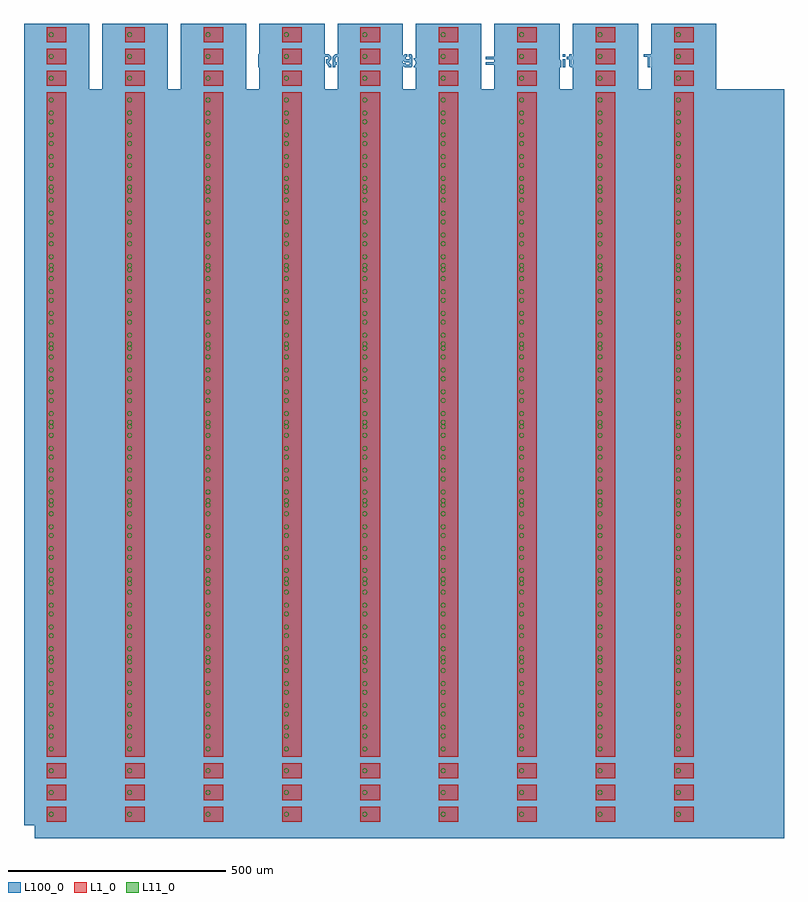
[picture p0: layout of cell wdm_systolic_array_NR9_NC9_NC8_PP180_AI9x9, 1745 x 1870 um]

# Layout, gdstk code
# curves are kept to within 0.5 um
import gdstk
lib = gdstk.Library(unit=1e-6, precision=1e-09)
def R(c, l, rs):  # rectangles x0, y0, x1, y1
    for r in rs: c.add(gdstk.rectangle(r[:2], r[2:], *l))
def P(c, l, *ps):  # polygons
    for p in ps: c.add(gdstk.Polygon(p, *l))
L1_0 = (1, 0)
L11_0 = (11, 0)
L100_0 = (100, 0)

rectangle_gdsfactorypcom = lib.new_cell('rectangle_gdsfactorypcomponentspshapesprectangle_S150_4_50ec886f')
R(rectangle_gdsfactorypcom, L100_0, [(0,0,150,400)])

c_rectangle_gdsfactorypcom = lib.new_cell('rectangle_gdsfactorypcomponentspshapesprectangle_S45_35_ef38d646')
R(c_rectangle_gdsfactorypcom, L1_0, [(0,0,45,35)])

ring_gdsfactorypcomponen = lib.new_cell('ring_gdsfactorypcomponentspringspring_R5_W0p5_AR2p5_L11_0_A360')
P(ring_gdsfactorypcomponen, L11_0, [(0,-5.25),(-1.136,-5.126),(-2.009,-4.85),(-2.821,-4.428),(-3.712,-3.712),(-4.428,-2.821),(-4.85,-2.009),(-5.126,-1.136),(-5.25,0),(-5.126,1.136),(-4.85,2.009),(-4.428,2.821),(-3.712,3.712),(-2.821,4.428),(-2.009,4.85),(-1.136,5.126),(0,5.25),(1.136,5.126),(2.009,4.85),(2.821,4.428),(3.712,3.712),(4.428,2.821),(4.85,2.009),(5.126,1.136),(5.25,0),(4.75,0),(4.678,0.825),(4.464,1.625),(4.114,2.375),(3.639,3.053),(2.724,3.891),(1.625,4.464),(0.414,4.732),(-0.414,4.732),(-1.028,4.637),(-1.625,4.464),(-2.375,4.114),(-3.359,3.359),(-4.114,2.375),(-4.588,1.229),(-4.75,0),(-4.637,-1.028),(-4.305,-2.007),(-3.639,-3.053),(-2.724,-3.891),(-1.625,-4.464),(-0.62,-4.709),(0.414,-4.732),(1.625,-4.464),(2.552,-4.006),(3.359,-3.359),(4.114,-2.375),(4.588,-1.229),(4.75,0),(5.25,0),(5.126,-1.136),(4.85,-2.009),(4.428,-2.821),(3.712,-3.712),(2.821,-4.428),(2.009,-4.85),(1.136,-5.126)])

c_ring_gdsfactorypcomponen = lib.new_cell('ring_gdsfactorypcomponentspringspring_R8_W0p5_AR2p5_L1_0_A360')
P(c_ring_gdsfactorypcomponen, L1_0, [(0,-8.25),(-1.433,-8.125),(-3.157,-7.622),(-4.433,-6.958),(-5.834,-5.834),(-6.958,-4.433),(-7.622,-3.157),(-8.125,-1.433),(-8.25,0),(-8.125,1.433),(-7.622,3.157),(-6.958,4.433),(-5.834,5.834),(-4.433,6.958),(-3.157,7.622),(-1.433,8.125),(0,8.25),(1.433,8.125),(3.157,7.622),(4.433,6.958),(5.834,5.834),(6.958,4.433),(7.622,3.157),(8.125,1.433),(8.25,0),(7.75,0),(7.632,1.346),(7.283,2.651),(6.712,3.875),(6.148,4.718),(5.48,5.48),(4.718,6.148),(3.875,6.712),(2.966,7.16),(2.006,7.486),(0.675,7.721),(-0.338,7.743),(-1.346,7.632),(-2.651,7.283),(-3.579,6.874),(-4.718,6.148),(-5.48,5.48),(-6.148,4.718),(-6.712,3.875),(-7.391,2.33),(-7.721,0.675),(-7.743,-0.338),(-7.632,-1.346),(-7.391,-2.33),(-7.024,-3.275),(-6.536,-4.164),(-5.937,-4.982),(-4.718,-6.148),(-3.875,-6.712),(-2.966,-7.16),(-2.006,-7.486),(-1.012,-7.684),(0.675,-7.721),(1.677,-7.566),(2.651,-7.283),(4.164,-6.536),(5.48,-5.48),(6.536,-4.164),(7.024,-3.275),(7.486,-2.006),(7.684,-1.012),(7.75,0),(8.25,0),(8.125,-1.433),(7.622,-3.157),(6.958,-4.433),(5.834,-5.834),(4.433,-6.958),(3.157,-7.622),(1.433,-8.125)])

text_gdsfactorypcomponen = lib.new_cell('text_gdsfactorypcomponentsptextsptext_TWDMmPE$8ch_S8_P0_c751b03d')
R(text_gdsfactorypcomponen, L100_0, [(21.6,2.8,28,4.4)])
P(text_gdsfactorypcomponen, L100_0, [(8.8,-12),(7.2,-10.4),(7.2,-8),(8.8,-6.4),(11.2,-6.4),(12.8,-8),(12.8,-8.8),(11.2,-8.8),(10.4,-8),(9.6,-8),(8.8,-8.8),(8.8,-9.6),(9.6,-10.4),(10.4,-10.4),(11.2,-9.6),(12.8,-9.6),(12.8,-10.4),(11.2,-12)],
  [(1.6,-12),(0.8,-11.2),(0.8,-8.8),(1.6,-8),(0.8,-7.2),(0.8,-4.8),(1.6,-4),(3.2,-4),(3.2,-5.6),(2.4,-5.6),(2.4,-7.2),(4.8,-7.2),(4.8,-5.6),(4,-5.6),(4,-4),(5.6,-4),(6.4,-4.8),(6.4,-7.2),(5.6,-8),(6.4,-8.8),(6.4,-11.2),(5.6,-12),(4,-12),(4,-10.4),(4.8,-10.4),(4.8,-8.8),(2.4,-8.8),(2.4,-10.4),(3.2,-10.4),(3.2,-12)],
  [(13.6,-12),(13.6,-3.2),(15.2,-3.2),(15.2,-7.2),(16,-6.4),(17.6,-6.4),(19.2,-8),(19.2,-12),(17.6,-12),(17.6,-8.8),(16.8,-8),(16,-8),(15.2,-8.8),(15.2,-12)],
  [(0.8,0),(0.8,8),(2.4,8),(2.4,3.2),(4,5.6),(5.6,3.2),(5.6,8),(7.2,8),(7.2,0),(5.6,0),(4,2.4),(2.4,0)],
  [(8,0),(8,3.2),(9.6,3.2),(9.6,1.6),(11.2,1.6),(12,2.4),(12,5.6),(11.2,6.4),(9.6,6.4),(9.6,4.8),(8,4.8),(8,8),(12,8),(13.6,6.4),(13.6,1.6),(12,0)],
  [(14.4,0),(14.4,8),(16,8),(17.6,5.6),(19.2,8),(20.8,8),(20.8,0),(19.2,0),(19.2,4.8),(17.6,2.4),(16,4.8),(16,0)],
  [(28.8,0),(28.8,8),(33.6,8),(35.2,6.4),(35.2,4.8),(33.6,3.2),(32,3.2),(32,4.8),(32.8,4.8),(33.6,5.6),(32.8,6.4),(30.4,6.4),(30.4,0)],
  [(36,0),(36,8),(40.8,8),(40.8,6.4),(37.6,6.4),(37.6,4.8),(39.2,4.8),(39.2,3.2),(37.6,3.2),(37.6,1.6),(40.8,1.6),(40.8,0)])

wdm_processing_element_n = lib.new_cell('wdm_processing_element_NC8_PS50')
wdm_processing_element_n.add(gdstk.Reference(rectangle_gdsfactorypcom, (-75,-200)))
wdm_processing_element_n.add(gdstk.Reference(c_rectangle_gdsfactorypcom, (-22.5,-192.5)))
wdm_processing_element_n.add(gdstk.Reference(ring_gdsfactorypcomponen, (-12.5,-175)))
wdm_processing_element_n.add(gdstk.Reference(c_ring_gdsfactorypcomponen, (12.5,-175)))
wdm_processing_element_n.add(gdstk.Reference(c_rectangle_gdsfactorypcom, (-22.5,-142.5)))
wdm_processing_element_n.add(gdstk.Reference(ring_gdsfactorypcomponen, (-12.5,-125)))
wdm_processing_element_n.add(gdstk.Reference(c_ring_gdsfactorypcomponen, (12.5,-125)))
wdm_processing_element_n.add(gdstk.Reference(c_rectangle_gdsfactorypcom, (-22.5,-92.5)))
wdm_processing_element_n.add(gdstk.Reference(ring_gdsfactorypcomponen, (-12.5,-75)))
wdm_processing_element_n.add(gdstk.Reference(c_ring_gdsfactorypcomponen, (12.5,-75)))
wdm_processing_element_n.add(gdstk.Reference(c_rectangle_gdsfactorypcom, (-22.5,-42.5)))
wdm_processing_element_n.add(gdstk.Reference(ring_gdsfactorypcomponen, (-12.5,-25)))
wdm_processing_element_n.add(gdstk.Reference(c_ring_gdsfactorypcomponen, (12.5,-25)))
wdm_processing_element_n.add(gdstk.Reference(c_rectangle_gdsfactorypcom, (-22.5,7.5)))
wdm_processing_element_n.add(gdstk.Reference(ring_gdsfactorypcomponen, (-12.5,25)))
wdm_processing_element_n.add(gdstk.Reference(c_ring_gdsfactorypcomponen, (12.5,25)))
wdm_processing_element_n.add(gdstk.Reference(c_rectangle_gdsfactorypcom, (-22.5,57.5)))
wdm_processing_element_n.add(gdstk.Reference(ring_gdsfactorypcomponen, (-12.5,75)))
wdm_processing_element_n.add(gdstk.Reference(c_ring_gdsfactorypcomponen, (12.5,75)))
wdm_processing_element_n.add(gdstk.Reference(c_rectangle_gdsfactorypcom, (-22.5,107.5)))
wdm_processing_element_n.add(gdstk.Reference(ring_gdsfactorypcomponen, (-12.5,125)))
wdm_processing_element_n.add(gdstk.Reference(c_ring_gdsfactorypcomponen, (12.5,125)))
wdm_processing_element_n.add(gdstk.Reference(c_rectangle_gdsfactorypcom, (-22.5,157.5)))
wdm_processing_element_n.add(gdstk.Reference(ring_gdsfactorypcomponen, (-12.5,175)))
wdm_processing_element_n.add(gdstk.Reference(c_ring_gdsfactorypcomponen, (12.5,175)))
wdm_processing_element_n.add(gdstk.Reference(text_gdsfactorypcomponen, (-20,175)))

c_rectangle_gdsfactorypcom_ = lib.new_cell('rectangle_gdsfactorypcomponentspshapesprectangle_S1720__c90f0c6c')
R(c_rectangle_gdsfactorypcom_, L100_0, [(0,0,1720,1720)])

c_text_gdsfactorypcomponen = lib.new_cell('text_gdsfactorypcomponentsptextsptext_TWDM_ARRAY_9x9__9_598c76b0')
R(c_text_gdsfactorypcomponen, L100_0, [(312,0,318,6), (702,0,708,18), (840,0,846,6), (525,6,549,12), (312,12,318,18), (525,18,549,24), (702,24,708,30)])
P(c_text_gdsfactorypcomponen, L100_0, [(264,0),(264,3),(270.24,10.5),(264,18),(264,21),(270,21),(274.5,15.6),(279,21),(285,21),(285,18),(278.76,10.5),(285,3),(285,0),(279,0),(274.5,5.4),(270,0)],
  [(360,0),(360,3),(366.24,10.5),(360,18),(360,21),(366,21),(370.5,15.6),(375,21),(381,21),(381,18),(374.76,10.5),(381,3),(381,0),(375,0),(370.5,5.4),(366,0)],
  [(423,0),(423,3),(429.24,10.5),(423,18),(423,21),(429,21),(433.5,15.6),(438,21),(444,21),(444,18),(437.76,10.5),(444,3),(444,0),(438,0),(433.5,5.4),(429,0)],
  [(660,0),(654,6),(654,21),(660,21),(660,9),(663,6),(666,6),(669,9),(669,21),(675,21),(675,0),(669,0),(669,3),(666,0)],
  [(678,0),(678,21),(684,21),(684,18),(687,21),(693,21),(699,15),(699,0),(693,0),(693,12),(690,15),(687,15),(684,12),(684,0)],
  [(735,0),(732,3),(732,6),(747,6),(747,9),(735,9),(732,12),(732,21),(735,24),(750,24),(753,21),(753,18),(738,18),(738,15),(750,15),(753,12),(753,3),(750,0)],
  [(3,0),(3,30),(9,30),(9,12),(15,21),(21,12),(21,30),(27,30),(27,0),(21,0),(15,9),(9,0)],
  [(30,0),(30,12),(36,12),(36,6),(42,6),(45,9),(45,21),(42,24),(36,24),(36,18),(30,18),(30,30),(45,30),(51,24),(51,6),(45,0)],
  [(54,0),(54,30),(60,30),(66,21),(72,30),(78,30),(78,0),(72,0),(72,18),(66,9),(60,18),(60,0)],
  [(95.97,0),(96,24),(102,30),(111.03,30),(117,24),(117,0),(111.03,0),(111.03,6),(108,6),(108,12),(111.03,12),(111.03,21),(108,24),(105,24),(102,21),(102,12),(105,12),(105,6),(102,6),(102,0)],
  [(120,0),(120,30),(138,30),(144,24),(144,18),(138,12),(144,6),(144,0),(138,0),(138,3),(132,9),(132,18),(135,18),(138,21),(135,24),(126,24),(126,0)],
  [(147,0),(147,30),(165,30),(171,24),(171,18),(165,12),(171,6),(171,0),(165,0),(165,3),(159,9),(159,18),(162,18),(165,21),(162,24),(153,24),(153,0)],
  [(173.97,0),(174,24),(180,30),(189.03,30),(195,24),(195,0),(189.03,0),(189.03,6),(186,6),(186,12),(189.03,12),(189.03,21),(186,24),(183,24),(180,21),(180,12),(183,12),(183,6),(180,6),(180,0)],
  [(207,0),(207,13.5),(198,27),(198,30),(204,30),(210,21),(216,30),(222,30),(222,27),(213,13.5),(213,0)],
  [(243,0),(240,3),(240,9),(246,9),(246,6),(255,6),(255,12),(243,12),(240,15),(240,27),(243,30),(249,30),(249,24),(246,24),(246,18),(255,18),(255,24),(252,24),(252,30),(258,30),(261,27),(261,3),(258,0)],
  [(291,0),(288,3),(288,9),(294,9),(294,6),(303,6),(303,12),(291,12),(288,15),(288,27),(291,30),(297,30),(297,24),(294,24),(294,18),(303,18),(303,24),(300,24),(300,30),(306,30),(309,27),(309,3),(306,0)],
  [(339,0),(336,3),(336,9),(342,9),(342,6),(351,6),(351,12),(339,12),(336,15),(336,27),(339,30),(345,30),(345,24),(342,24),(342,18),(351,18),(351,24),(348,24),(348,30),(354,30),(357,27),(357,3),(354,0)],
  [(387,0),(384,3),(384,9),(390,9),(390,6),(399,6),(399,12),(387,12),(384,15),(384,27),(387,30),(393,30),(393,24),(390,24),(390,18),(399,18),(399,24),(396,24),(396,30),(402,30),(405,27),(405,3),(402,0)],
  [(465,0),(462,3),(462,12),(465,15),(462,18),(462,27),(465,30),(471,30),(471,24),(468,24),(468,18),(477,18),(477,24),(474,24),(474,30),(480,30),(483,27),(483,18),(480,15),(483,12),(483,3),(480,0),(474,0),(474,6),(477,6),(477,12),(468,12),(468,6),(471,6),(471,0)],
  [(486,0),(486,30),(492,30),(492,6),(507,6),(507,0)],
  [(570,0),(567,3),(567,27),(570,30),(585,30),(588,27),(588,21),(582,21),(582,24),(573,24),(573,18),(585,18),(588,15),(588,3),(585,0),(579,0),(579,6),(582,6),(582,12),(573,12),(573,6),(576,6),(576,0)],
  [(603,0),(603,9),(591,9),(591,30),(597,30),(597,15),(603,15),(603,30),(609,30),(609,15),(612,15),(612,9),(609,9),(609,0)],
  [(618,0),(615,3),(615,12),(618,15),(615,18),(615,27),(618,30),(624,30),(624,24),(621,24),(621,18),(630,18),(630,24),(627,24),(627,30),(633,30),(636,27),(636,18),(633,15),(636,12),(636,3),(633,0),(627,0),(627,6),(630,6),(630,12),(621,12),(621,6),(624,6),(624,0)],
  [(720,0),(717,3),(717,18),(711,18),(711,24),(717,24),(717,30),(723,30),(723,24),(729,24),(729,18),(723,18),(723,6),(726,6),(726,0)],
  [(777,0),(771,6),(771,24),(777,30),(789,30),(795,24),(795,15),(792,12),(781.5,12),(780,13.5),(780,18),(781.5,21),(786,21),(784.5,18),(784.5,15),(789,15),(789,21),(786,24),(780,24),(777,21),(777,9),(780,6),(795,6),(795,3),(792,0)],
  [(819,0),(813,6),(813,24),(819,30),(825.9,30),(824.4,24),(822,24),(819,21),(819,9),(822,6),(820.5,0)],
  [(824.1,0),(825.6,6),(828,6),(831,9),(831,21),(828,24),(829.5,30),(831,30),(837,24),(837,6),(831,0)],
  [(861,0),(861,9),(849,9),(849,30),(855,30),(855,15),(861,15),(861,30),(867,30),(867,15),(870,15),(870,9),(867,9),(867,0)],
  [(897,0),(897,24),(888,24),(888,30),(912,30),(912,24),(903,24),(903,0)],
  [(915,0),(915,30),(933,30),(933,24),(921,24),(921,18),(927,18),(927,12),(921,12),(921,0)],
  [(936,0),(936,30),(942,30),(942,6),(957,6),(957,0)],
  [(966,0),(960,6),(960,24),(966,30),(969.9,30),(969.9,24),(969,24),(966,21),(966,9),(969,6),(975,6),(978,9),(978,21),(975,24),(974.1,24),(974.1,30),(978,30),(984,24),(984,6),(978,0)],
  [(987,0),(987,30),(1005,30),(1011,24),(1011,18),(1005,12),(999,12),(999,18),(1002,18),(1005,21),(1002,24),(993,24),(993,0)],
  [(1017,0),(1014,3),(1014,6),(1032,6),(1032,12),(1017,12),(1014,15),(1014,27),(1017,30),(1035,30),(1038,27),(1038,24),(1020,24),(1020,18),(1035,18),(1038,15),(1038,3),(1035,0)])

wdm_systolic_array_nr9_n = lib.new_cell('wdm_systolic_array_NR9_NC9_NC8_PP180_AI9x9')
wdm_systolic_array_nr9_n.add(gdstk.Reference(wdm_processing_element_n, (0,0)))
wdm_systolic_array_nr9_n.add(gdstk.Reference(wdm_processing_element_n, (180,0)))
wdm_systolic_array_nr9_n.add(gdstk.Reference(wdm_processing_element_n, (360,0)))
wdm_systolic_array_nr9_n.add(gdstk.Reference(wdm_processing_element_n, (540,0)))
wdm_systolic_array_nr9_n.add(gdstk.Reference(wdm_processing_element_n, (720,0)))
wdm_systolic_array_nr9_n.add(gdstk.Reference(wdm_processing_element_n, (900,0)))
wdm_systolic_array_nr9_n.add(gdstk.Reference(wdm_processing_element_n, (1080,0)))
wdm_systolic_array_nr9_n.add(gdstk.Reference(wdm_processing_element_n, (1260,0)))
wdm_systolic_array_nr9_n.add(gdstk.Reference(wdm_processing_element_n, (1440,0)))
wdm_systolic_array_nr9_n.add(gdstk.Reference(wdm_processing_element_n, (0,-180)))
wdm_systolic_array_nr9_n.add(gdstk.Reference(wdm_processing_element_n, (180,-180)))
wdm_systolic_array_nr9_n.add(gdstk.Reference(wdm_processing_element_n, (360,-180)))
wdm_systolic_array_nr9_n.add(gdstk.Reference(wdm_processing_element_n, (540,-180)))
wdm_systolic_array_nr9_n.add(gdstk.Reference(wdm_processing_element_n, (720,-180)))
wdm_systolic_array_nr9_n.add(gdstk.Reference(wdm_processing_element_n, (900,-180)))
wdm_systolic_array_nr9_n.add(gdstk.Reference(wdm_processing_element_n, (1080,-180)))
wdm_systolic_array_nr9_n.add(gdstk.Reference(wdm_processing_element_n, (1260,-180)))
wdm_systolic_array_nr9_n.add(gdstk.Reference(wdm_processing_element_n, (1440,-180)))
wdm_systolic_array_nr9_n.add(gdstk.Reference(wdm_processing_element_n, (0,-360)))
wdm_systolic_array_nr9_n.add(gdstk.Reference(wdm_processing_element_n, (180,-360)))
wdm_systolic_array_nr9_n.add(gdstk.Reference(wdm_processing_element_n, (360,-360)))
wdm_systolic_array_nr9_n.add(gdstk.Reference(wdm_processing_element_n, (540,-360)))
wdm_systolic_array_nr9_n.add(gdstk.Reference(wdm_processing_element_n, (720,-360)))
wdm_systolic_array_nr9_n.add(gdstk.Reference(wdm_processing_element_n, (900,-360)))
wdm_systolic_array_nr9_n.add(gdstk.Reference(wdm_processing_element_n, (1080,-360)))
wdm_systolic_array_nr9_n.add(gdstk.Reference(wdm_processing_element_n, (1260,-360)))
wdm_systolic_array_nr9_n.add(gdstk.Reference(wdm_processing_element_n, (1440,-360)))
wdm_systolic_array_nr9_n.add(gdstk.Reference(wdm_processing_element_n, (0,-540)))
wdm_systolic_array_nr9_n.add(gdstk.Reference(wdm_processing_element_n, (180,-540)))
wdm_systolic_array_nr9_n.add(gdstk.Reference(wdm_processing_element_n, (360,-540)))
wdm_systolic_array_nr9_n.add(gdstk.Reference(wdm_processing_element_n, (540,-540)))
wdm_systolic_array_nr9_n.add(gdstk.Reference(wdm_processing_element_n, (720,-540)))
wdm_systolic_array_nr9_n.add(gdstk.Reference(wdm_processing_element_n, (900,-540)))
wdm_systolic_array_nr9_n.add(gdstk.Reference(wdm_processing_element_n, (1080,-540)))
wdm_systolic_array_nr9_n.add(gdstk.Reference(wdm_processing_element_n, (1260,-540)))
wdm_systolic_array_nr9_n.add(gdstk.Reference(wdm_processing_element_n, (1440,-540)))
wdm_systolic_array_nr9_n.add(gdstk.Reference(wdm_processing_element_n, (0,-720)))
wdm_systolic_array_nr9_n.add(gdstk.Reference(wdm_processing_element_n, (180,-720)))
wdm_systolic_array_nr9_n.add(gdstk.Reference(wdm_processing_element_n, (360,-720)))
wdm_systolic_array_nr9_n.add(gdstk.Reference(wdm_processing_element_n, (540,-720)))
wdm_systolic_array_nr9_n.add(gdstk.Reference(wdm_processing_element_n, (720,-720)))
wdm_systolic_array_nr9_n.add(gdstk.Reference(wdm_processing_element_n, (900,-720)))
wdm_systolic_array_nr9_n.add(gdstk.Reference(wdm_processing_element_n, (1080,-720)))
wdm_systolic_array_nr9_n.add(gdstk.Reference(wdm_processing_element_n, (1260,-720)))
wdm_systolic_array_nr9_n.add(gdstk.Reference(wdm_processing_element_n, (1440,-720)))
wdm_systolic_array_nr9_n.add(gdstk.Reference(wdm_processing_element_n, (0,-900)))
wdm_systolic_array_nr9_n.add(gdstk.Reference(wdm_processing_element_n, (180,-900)))
wdm_systolic_array_nr9_n.add(gdstk.Reference(wdm_processing_element_n, (360,-900)))
wdm_systolic_array_nr9_n.add(gdstk.Reference(wdm_processing_element_n, (540,-900)))
wdm_systolic_array_nr9_n.add(gdstk.Reference(wdm_processing_element_n, (720,-900)))
wdm_systolic_array_nr9_n.add(gdstk.Reference(wdm_processing_element_n, (900,-900)))
wdm_systolic_array_nr9_n.add(gdstk.Reference(wdm_processing_element_n, (1080,-900)))
wdm_systolic_array_nr9_n.add(gdstk.Reference(wdm_processing_element_n, (1260,-900)))
wdm_systolic_array_nr9_n.add(gdstk.Reference(wdm_processing_element_n, (1440,-900)))
wdm_systolic_array_nr9_n.add(gdstk.Reference(wdm_processing_element_n, (0,-1080)))
wdm_systolic_array_nr9_n.add(gdstk.Reference(wdm_processing_element_n, (180,-1080)))
wdm_systolic_array_nr9_n.add(gdstk.Reference(wdm_processing_element_n, (360,-1080)))
wdm_systolic_array_nr9_n.add(gdstk.Reference(wdm_processing_element_n, (540,-1080)))
wdm_systolic_array_nr9_n.add(gdstk.Reference(wdm_processing_element_n, (720,-1080)))
wdm_systolic_array_nr9_n.add(gdstk.Reference(wdm_processing_element_n, (900,-1080)))
wdm_systolic_array_nr9_n.add(gdstk.Reference(wdm_processing_element_n, (1080,-1080)))
wdm_systolic_array_nr9_n.add(gdstk.Reference(wdm_processing_element_n, (1260,-1080)))
wdm_systolic_array_nr9_n.add(gdstk.Reference(wdm_processing_element_n, (1440,-1080)))
wdm_systolic_array_nr9_n.add(gdstk.Reference(wdm_processing_element_n, (0,-1260)))
wdm_systolic_array_nr9_n.add(gdstk.Reference(wdm_processing_element_n, (180,-1260)))
wdm_systolic_array_nr9_n.add(gdstk.Reference(wdm_processing_element_n, (360,-1260)))
wdm_systolic_array_nr9_n.add(gdstk.Reference(wdm_processing_element_n, (540,-1260)))
wdm_systolic_array_nr9_n.add(gdstk.Reference(wdm_processing_element_n, (720,-1260)))
wdm_systolic_array_nr9_n.add(gdstk.Reference(wdm_processing_element_n, (900,-1260)))
wdm_systolic_array_nr9_n.add(gdstk.Reference(wdm_processing_element_n, (1080,-1260)))
wdm_systolic_array_nr9_n.add(gdstk.Reference(wdm_processing_element_n, (1260,-1260)))
wdm_systolic_array_nr9_n.add(gdstk.Reference(wdm_processing_element_n, (1440,-1260)))
wdm_systolic_array_nr9_n.add(gdstk.Reference(wdm_processing_element_n, (0,-1440)))
wdm_systolic_array_nr9_n.add(gdstk.Reference(wdm_processing_element_n, (180,-1440)))
wdm_systolic_array_nr9_n.add(gdstk.Reference(wdm_processing_element_n, (360,-1440)))
wdm_systolic_array_nr9_n.add(gdstk.Reference(wdm_processing_element_n, (540,-1440)))
wdm_systolic_array_nr9_n.add(gdstk.Reference(wdm_processing_element_n, (720,-1440)))
wdm_systolic_array_nr9_n.add(gdstk.Reference(wdm_processing_element_n, (900,-1440)))
wdm_systolic_array_nr9_n.add(gdstk.Reference(wdm_processing_element_n, (1080,-1440)))
wdm_systolic_array_nr9_n.add(gdstk.Reference(wdm_processing_element_n, (1260,-1440)))
wdm_systolic_array_nr9_n.add(gdstk.Reference(wdm_processing_element_n, (1440,-1440)))
wdm_systolic_array_nr9_n.add(gdstk.Reference(c_rectangle_gdsfactorypcom_, (-50,-1670)))
wdm_systolic_array_nr9_n.add(gdstk.Reference(c_text_gdsfactorypcomponen, (460,100)))

lib.write_gds('wdm_systolic_array_NR9_NC9_NC8_PP180_AI9x9.gds')
